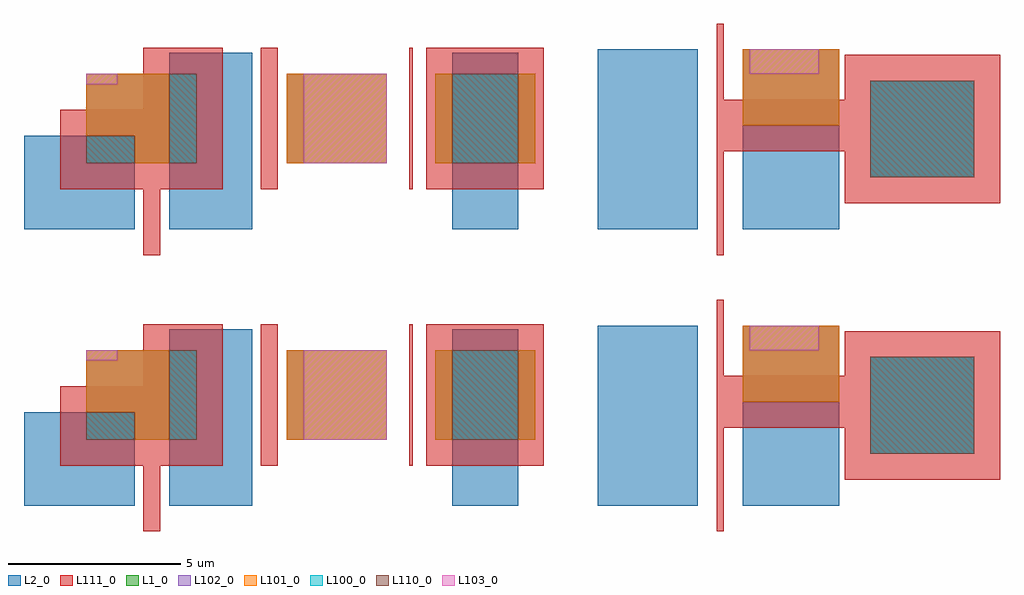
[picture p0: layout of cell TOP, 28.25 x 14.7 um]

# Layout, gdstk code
import gdstk
lib = gdstk.Library(unit=1e-6, precision=1e-09)
def R(c, l, rs):  # rectangles x0, y0, x1, y1
    for r in rs: c.add(gdstk.rectangle(r[:2], r[2:], *l))
def P(c, l, *ps):  # polygons
    for p in ps: c.add(gdstk.Polygon(p, *l))
L1_0 = (1, 0)
L2_0 = (2, 0)
L100_0 = (100, 0)
L101_0 = (101, 0)
L102_0 = (102, 0)
L103_0 = (103, 0)
L110_0 = (110, 0)
L111_0 = (111, 0)

child2 = lib.new_cell('CHILD2')
R(child2, L2_0, [(-13.75,-2.6,-10.55,0.1), (-9.55,-2.6,-7.15,2.5), (-1.35,-2.6,0.55,2.5), (2.85,-2.6,5.75,2.6), (7.05,-2.6,9.85,0.4), (10.75,-1.1,13.75,1.7)])
R(child2, L110_0, [(10.75,-1.1,13.75,1.7), (-11.95,-0.7,-10.55,0.1), (-9.55,-0.7,-8.75,1.9), (-1.35,-0.7,0.55,1.9)])
R(child2, L111_0, [(-6.9,-1.45,-6.4,2.65), (-2.6,-1.45,-2.5,2.65), (-2.1,-1.45,1.3,2.65)])
P(child2, L111_0, [(6.3,-3.35),(6.3,3.35),(6.5,3.35),(6.5,1.15),(10,1.15),(10,2.45),(14.5,2.45),(14.5,-1.85),(10,-1.85),(10,-0.35),(6.5,-0.35),(6.5,-3.35)],
  [(-10.3,-3.35),(-10.3,-1.45),(-12.7,-1.45),(-12.7,0.85),(-10.3,0.85),(-10.3,2.65),(-8,2.65),(-8,-1.45),(-9.8,-1.45),(-9.8,-3.35)])

child1 = lib.new_cell('CHILD1')
R(child1, L1_0, [(22.7,0,25.7,2.8), (0,0.4,3.2,3), (5.8,0.4,8.7,3), (10.1,0.4,13,3), (19,1.5,21.8,3.7)])
R(child1, L100_0, [(22.7,0,25.7,2.8), (0,0.4,1.4,1.2), (2.4,0.4,3.2,3), (10.6,0.4,12.5,3)])
R(child1, L101_0, [(5.8,0.4,8.7,3), (10.1,0.4,10.6,3), (12.5,0.4,13,3), (19,1.5,21.8,3.7)])
P(child1, L101_0, [(1.4,0.4),(1.4,1.2),(0,1.2),(0,3),(2.4,3),(2.4,0.4)])
R(child1, L102_0, [(22.7,0,25.7,2.8), (5.8,0.4,6.3,3), (10.1,0.4,13,3)])
P(child1, L102_0, [(19,1.5),(19,3.7),(19.2,3.7),(19.2,3),(21.2,3),(21.2,3.7),(21.8,3.7),(21.8,1.5)],
  [(0,0.4),(0,2.7),(0.9,2.7),(0.9,3),(3.2,3),(3.2,0.4)])
R(child1, L103_0, [(6.3,0.4,8.7,3), (0,2.7,0.9,3), (19.2,3,21.2,3.7)])
R(child1, L110_0, [(22.7,0,25.7,2.8), (0,0.4,1.4,1.2), (2.4,0.4,3.2,3), (10.6,0.4,12.5,3)])
R(child1, L111_0, [(5.05,-0.35,5.55,3.75), (9.35,-0.35,9.45,3.75), (9.85,-0.35,13.25,3.75)])
P(child1, L111_0, [(18.25,-2.25),(18.25,4.45),(18.45,4.45),(18.45,2.25),(21.95,2.25),(21.95,3.55),(26.45,3.55),(26.45,-0.75),(21.95,-0.75),(21.95,0.75),(18.45,0.75),(18.45,-2.25)],
  [(1.65,-2.25),(1.65,-0.35),(-0.75,-0.35),(-0.75,1.95),(1.65,1.95),(1.65,3.75),(3.95,3.75),(3.95,-0.35),(2.15,-0.35),(2.15,-2.25)])

top = lib.new_cell('TOP')
R(top, L1_0, [(24.5,1.5,27.5,4.3), (1.8,1.9,5,4.5), (7.6,1.9,10.5,4.5), (11.9,1.9,14.8,4.5), (20.8,3,23.6,5.2)])
R(top, L2_0, [(0,8,3.2,10.7), (4.2,8,6.6,13.1), (12.4,8,14.3,13.1), (16.6,8,19.5,13.2), (20.8,8,23.6,11), (24.5,9.5,27.5,12.3)])
R(top, L100_0, [(24.5,1.5,27.5,4.3), (1.8,1.9,3.2,2.7), (4.2,1.9,5,4.5), (12.4,1.9,14.3,4.5)])
R(top, L101_0, [(7.6,1.9,10.5,4.5), (11.9,1.9,12.4,4.5), (14.3,1.9,14.8,4.5), (20.8,3,23.6,5.2)])
P(top, L101_0, [(3.2,1.9),(3.2,2.7),(1.8,2.7),(1.8,4.5),(4.2,4.5),(4.2,1.9)])
R(top, L102_0, [(24.5,1.5,27.5,4.3), (7.6,1.9,8.1,4.5), (11.9,1.9,14.8,4.5)])
P(top, L102_0, [(20.8,3),(20.8,5.2),(21,5.2),(21,4.5),(23,4.5),(23,5.2),(23.6,5.2),(23.6,3)],
  [(1.8,1.9),(1.8,4.2),(2.7,4.2),(2.7,4.5),(5,4.5),(5,1.9)])
R(top, L103_0, [(8.1,1.9,10.5,4.5), (1.8,4.2,2.7,4.5), (21,4.5,23,5.2)])
R(top, L111_0, [(11.15,1.15,11.25,5.25), (23.75,2.25,24.35,5.05), (3.45,7.25,3.95,11.45), (20.05,7.25,20.25,11.75), (23.75,8.75,24.35,11.75)])
top.add(gdstk.Reference(child2, (13.75,2.6)))
top.add(gdstk.Reference(child1, (1.8,9.5)))

lib.write_gds('TOP.gds')
